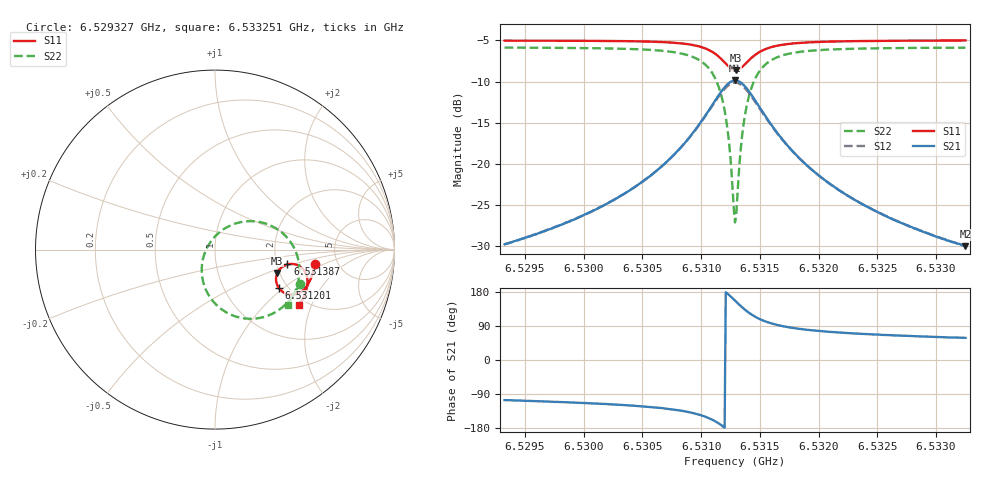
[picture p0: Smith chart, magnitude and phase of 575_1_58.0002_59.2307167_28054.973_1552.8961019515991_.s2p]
#  HZ  S  RI  R  50.00
! Rohde & Schwarz Vector Network Analyzer
! Rohde-Schwarz,ZNB20-2Port,1311601062101988,3.16
! Created: UTC 3/21/2024, 1:16:04 AM
! freq[Hz]  re:S11  im:S11  re:S21  im:S21  re:S12  im:S12  re:S22  im:S22
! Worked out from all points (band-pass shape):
!   401 points, 6.529327 GHz to 6.533251 GHz, reference 50 ohm
!   highest |S21| = -9.86 dB at 6.531289 GHz (marker M1); lowest = -30.0 dB at 6.533251 GHz (marker M2)
!   |S21| within 3 dB of the highest: 6.531094 GHz to 6.531487 GHz (392.3 kHz wide, 0.00601 % of centre)
!   lowest |S11| = -8.6 dB at 6.531299 GHz (marker M3), VSWR 2.18, Z = 97.4 - j29.4 ohm
!   |S11| at or under -10 dB: nowhere
!   |S22| runs from -27.1 to -5.9 dB; largest |S21 - S12| = 0.013
!   S11 on the Smith chart (normalised r, x): 6.529327 GHz: 3.34, -0.80; 6.531201 GHz: 1.80, -0.92; 6.531387 GHz: 2.29, -0.45; 6.533251 GHz: 1.82, -1.64
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6.5293274e9  0.5547 -0.082  -0.00884 -0.0313  -0.00952 -0.0311  0.471 -0.1919
6.5299845e9  0.5424 -0.137  -0.0191 -0.0443  -0.0201 -0.044  0.4376 -0.2529
6.5303671e9  0.529 -0.1731  -0.0332 -0.0586  -0.0346 -0.0578  0.4011 -0.2982
6.5306417e9  0.5119 -0.2035  -0.0552 -0.0755  -0.0573 -0.0739  0.3513 -0.3395
6.5308673e9  0.4832 -0.2324  -0.0972 -0.0946  -0.0999 -0.0912  0.267 -0.3769
6.531034e9  0.4371 -0.2503  -0.1683 -0.0994  -0.1704 -0.0923  0.1367 -0.3785
6.5311321e9  0.3906 -0.2429  -0.2402 -0.0699  -0.2387 -0.0598  0.017 -0.3167
6.5312008e9  0.3548 -0.2129  -0.2921 -0.00746  -0.2854 0.0028  -0.0592 -0.2026
6.5312302e9  0.3442 -0.1911  -0.3052 0.0331  -0.296 0.0418  -0.0733 -0.1333
6.5312694e9  0.3404 -0.1564  -0.3048 0.0954  -0.2932 0.1008  -0.0614 -0.0314
6.531289e9  0.3441 -0.1386  -0.2952 0.1269  -0.2832 0.1299  -0.0405 0.0177
6.5312988e9  0.3474 -0.1301  -0.2882 0.1416  -0.2762 0.1436  -0.0263 0.0407
6.5313086e9  0.3515 -0.1221  -0.2796 0.1553  -0.268 0.1565  -0.0101 0.062
6.5313479e9  0.3749 -0.096  -0.2352 0.1997  -0.2254 0.1975  0.0701 0.1265
6.5313871e9  0.4038 -0.0823  -0.1833 0.2228  -0.1761 0.2189  0.1589 0.1556
6.5314558e9  0.4493 -0.0829  -0.1041 0.2229  -0.1008 0.2194  0.2911 0.142
6.5315538e9  0.4884 -0.1068  -0.0372 0.1884  -0.0355 0.1866  0.3991 0.0695
6.531701e9  0.5106 -0.1443  0.0026 0.1385  0.00377 0.1376  0.4572 -0.0305
6.5319462e9  0.5153 -0.1886  0.0187 0.0899  0.0197 0.0896  0.4702 -0.1312
6.5322404e9  0.5087 -0.2247  0.0207 0.0614  0.0217 0.0608  0.4591 -0.1976
6.5326033e9  0.4965 -0.2585  0.0196 0.0429  0.0203 0.0428  0.4401 -0.248
6.5332507e9  0.4707 -0.3076  0.0166 0.027  0.0172 0.0267  0.4053 -0.3067
